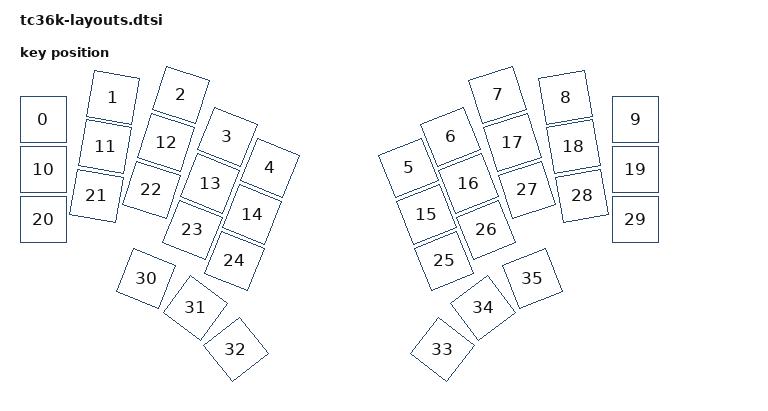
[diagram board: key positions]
#include <physical_layouts.dtsi>

/ {
    physical_layout0: physical_layout_0 {
        compatible = "zmk,physical-layout";
        display-name = "Default";

        kscan = <&kscan0>;
        transform = <&matrix_transform0>;

        keys  //                     w   h    x    y     rot    rx    ry
            = <&key_physical_attrs 100 100    0   49       0     0     0>
            , <&key_physical_attrs 100 100  140    5    1000   190    55>
            , <&key_physical_attrs 100 100  276    0    1800   326    50>
            , <&key_physical_attrs 100 100  369   84    2200   419   134>
            , <&key_physical_attrs 100 100  454  146    2200   504   196>
            , <&key_physical_attrs 100 100  731  146 (-2200)   781   196>
            , <&key_physical_attrs 100 100  815   84 (-2200)   865   134>
            , <&key_physical_attrs 100 100  909    0 (-1800)   959    50>
            , <&key_physical_attrs 100 100 1045    5 (-1000)  1095    55>
            , <&key_physical_attrs 100 100 1185   49       0     0     0>
            , <&key_physical_attrs 100 100    0  149       0     0     0>
            , <&key_physical_attrs 100 100  124  103    1000   174   153>
            , <&key_physical_attrs 100 100  246   95    1800   296   145>
            , <&key_physical_attrs 100 100  334  177    2200   384   227>
            , <&key_physical_attrs 100 100  418  239    2200   468   289>
            , <&key_physical_attrs 100 100  767  239 (-2200)   817   289>
            , <&key_physical_attrs 100 100  851  177 (-2200)   901   227>
            , <&key_physical_attrs 100 100  939   95 (-1800)   989   145>
            , <&key_physical_attrs 100 100 1061  103 (-1000)  1111   153>
            , <&key_physical_attrs 100 100 1185  149       0     0     0>
            , <&key_physical_attrs 100 100    0  249       0     0     0>
            , <&key_physical_attrs 100 100  107  202    1000   157   252>
            , <&key_physical_attrs 100 100  217  190    1800   267   240>
            , <&key_physical_attrs 100 100  299  270    2200   349   320>
            , <&key_physical_attrs 100 100  383  332    2200   433   382>
            , <&key_physical_attrs 100 100  802  332 (-2200)   852   382>
            , <&key_physical_attrs 100 100  886  270 (-2200)   936   320>
            , <&key_physical_attrs 100 100  968  190 (-1800)  1018   240>
            , <&key_physical_attrs 100 100 1078  202 (-1000)  1128   252>
            , <&key_physical_attrs 100 100 1185  249       0     0     0>
            , <&key_physical_attrs 100 100  206  367    2200   256   417>
            , <&key_physical_attrs 100 100  305  426    3700   355   476>
            , <&key_physical_attrs 100 100  386  509 (-3800)   436   559>
            , <&key_physical_attrs 100 100  799  509    3800   849   559>
            , <&key_physical_attrs 100 100  880  426 (-3700)   930   476>
            , <&key_physical_attrs 100 100  979  367 (-2200)  1029   417>
            ;
    };
};
